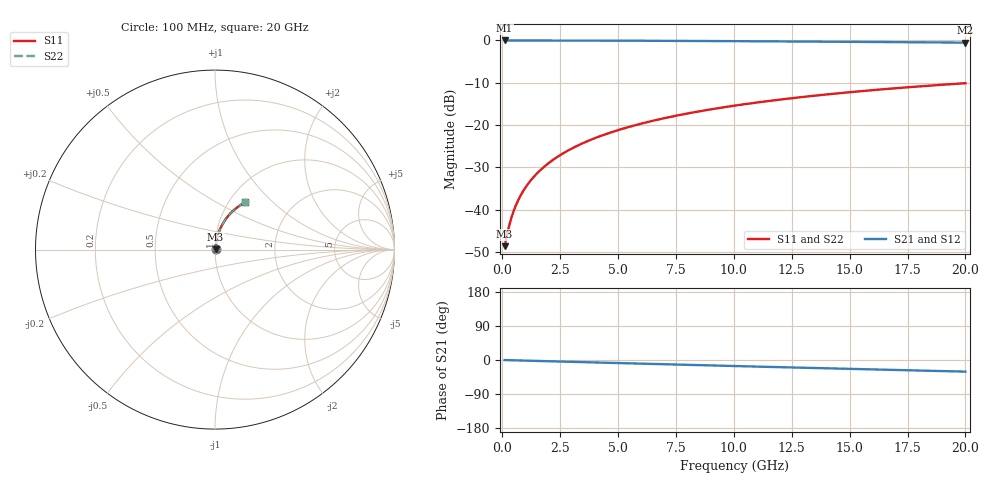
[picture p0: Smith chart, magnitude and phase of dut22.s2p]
! Touchstone file exported from HFSS 2026.1.0
!  File:  C:/ffzhzh/LocalFiles/Ansys_Project_Files/temp_train_TMRDL_22_1782880396_43084.aedt
!  Generated:  12:34:33 PM Jul  1, 2026
!  Design:  TMRDL
!  Project:  temp_train_TMRDL_22_1782880396_43084
! Variables:
!  h_bsmrdl = 2um
!  h_ox = 20um
!  h_rdl = 5um
!  h_sub = 80um
!  h_tmrdl = 3.23um
!  h_tsv = 80um
!  h_via = 3um
!  l_bsmrdl = 300um
!  l_sub = 820.04um
!  l_tmrdl = 420.04um
!  m_sub = 200um
!  pitch = 37.92um
!  r_tsv = 6um
!  s_tmrdl = 10um
!  w_bsmrdl = 18um
!  w_sub = 500um
!  w_tmrdl = 15.06um
!  x_tsv_center1 = 427.57um
!  x_tsv_center2 = 745.57um
!  x_tsv_center3 = 1180.67um
!  x_tsv_center4 = 1498.67um
!  x_tsv_center5 = 1933.77um
!  x_tsv_center6 = 2251.77um
# GHz S MA R 50.000000
! Terminal data exported
! Port[1] = TM_RDL1_1_T1
! Port[2] = TM_RDL1_1_T2
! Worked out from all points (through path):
!   200 points, 100 MHz to 20 GHz, reference 50 ohm
!   highest |S21| = -0.03 dB at 100 MHz (marker M1); lowest = -0.5 dB at 20 GHz (marker M2)
!   group delay of S21, straight-line fit = 4.26 ps
!   lowest |S11| = -48.6 dB at 100 MHz (marker M3), VSWR 1.01, Z = 50.3 + j0.19 ohm
!   |S11| at or under -10 dB: start of sweep to end of sweep
!   |S22| runs from -48.6 to -10.1 dB; largest |S21 - S12| = 2.9e-15
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0.1  0.003729 30.5  0.9968 -0.2  0.9968 -0.2  0.003729 30.5
! Gamma 0 0 0 0
! Port Impedance 50 0 50 0
0.2  0.004998 48.7  0.9967 -0.3  0.9967 -0.3  0.004998 48.7
0.3  0.006545 58.5  0.9966 -0.5  0.9966 -0.5  0.006545 58.5
0.4  0.008183 64.3  0.9965 -0.7  0.9965 -0.7  0.008183 64.3
0.5  0.009853 68.1  0.9964 -0.8  0.9964 -0.8  0.009853 68.1
0.6  0.01154 70.7  0.9963 -1.0  0.9963 -1.0  0.01154 70.7
0.8  0.01493 74.2  0.9962 -1.3  0.9962 -1.3  0.01492 74.2
1.1  0.02005 77.1  0.996 -1.8  0.996 -1.8  0.02005 77.1
1.3  0.02349 78.3  0.9958 -2.1  0.9958 -2.1  0.02349 78.3
1.6  0.02867 79.4  0.9956 -2.6  0.9956 -2.6  0.02867 79.4
2.1  0.03733 80.2  0.9952 -3.4  0.9952 -3.4  0.03733 80.2
2.7  0.04774 80.4  0.9946 -4.4  0.9946 -4.4  0.04774 80.4
3.5  0.06157 80.1  0.9936 -5.7  0.9936 -5.7  0.06157 80.1
4.2  0.0736 79.4  0.9925 -6.8  0.9925 -6.8  0.0736 79.5
5  0.08725 78.5  0.991 -8.1  0.991 -8.1  0.08725 78.5
5.9  0.1024 77.4  0.9892 -9.5  0.9892 -9.5  0.1024 77.4
6.8  0.1175 76.2  0.9871 -10.9  0.9871 -10.9  0.1175 76.2
8.3  0.142 74.0  0.9832 -13.3  0.9832 -13.3  0.142 74.1
10.1  0.1708 71.4  0.9779 -16.1  0.9779 -16.1  0.1707 71.5
13.4  0.2211 66.7  0.9665 -21.1  0.9665 -21.1  0.2211 66.7
16.7  0.2683 62.0  0.9536 -25.9  0.9536 -25.9  0.2683 62.0
20  0.3122 57.4  0.9396 -30.6  0.9396 -30.6  0.3122 57.5
